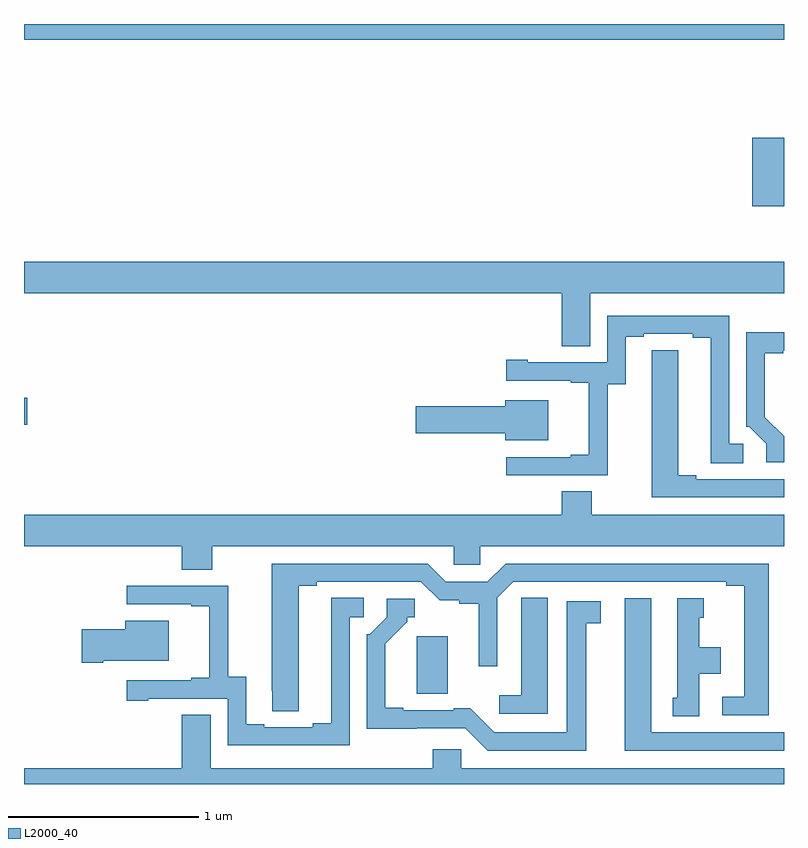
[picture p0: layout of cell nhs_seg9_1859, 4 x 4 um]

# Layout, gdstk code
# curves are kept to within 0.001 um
import gdstk
lib = gdstk.Library(unit=1e-6, precision=1e-09)
def R(c, l, rs):  # rectangles x0, y0, x1, y1
    for r in rs: c.add(gdstk.rectangle(r[:2], r[2:], *l))
def P(c, l, *ps):  # polygons
    for p in ps: c.add(gdstk.Polygon(p, *l))
L2000_40 = (2000, 40)

nhs_seg9_1859 = lib.new_cell('nhs_seg9_1859')
R(nhs_seg9_1859, L2000_40, [(215,1198.39,215.017,1198.532), (218.834,1199.542,219,1199.902), (215,1200.416,219,1200.5)])
P(nhs_seg9_1859, L2000_40, [(217.981,1199.084),(219,1199.084),(219,1199.248),(215,1199.248),(215,1199.084),(217.829,1199.084),(217.829,1198.804),(217.981,1198.804)],
  [(218.073,1198.603),(218.167,1198.603),(218.167,1198.854),(218.263,1198.854),(218.263,1198.869),(218.519,1198.869),(218.519,1198.849),(218.615,1198.849),(218.615,1198.189),(218.785,1198.189),(218.785,1198.29),(218.712,1198.29),(218.712,1198.965),(218.07,1198.965),(218.07,1198.719),(217.651,1198.719),(217.651,1198.732),(217.539,1198.732),(217.539,1198.623),(217.877,1198.623),(217.877,1198.611),(217.973,1198.611),(217.973,1198.234),(217.877,1198.234),(217.877,1198.221),(217.539,1198.221),(217.539,1198.125),(218.073,1198.125)],
  [(219,1198.329),(218.899,1198.43),(218.899,1198.767),(218.995,1198.767),(218.995,1198.779),(219,1198.779),(219,1198.877),(218.802,1198.877),(218.802,1198.38),(218.817,1198.38),(218.907,1198.29),(218.907,1198.194),(219,1198.194)],
  [(219,1198.104),(218.539,1198.104),(218.539,1198.124),(218.443,1198.124),(218.443,1198.784),(218.304,1198.784),(218.304,1198.676),(218.303,1198.676),(218.303,1198.008),(219,1198.008)],
  [(217.759,1198.519),(217.532,1198.519),(217.532,1198.487),(217.062,1198.487),(217.062,1198.345),(217.532,1198.345),(217.532,1198.31),(217.759,1198.31)],
  [(215.991,1197.752),(217.263,1197.752),(217.263,1197.654),(217.401,1197.654),(217.401,1197.752),(219,1197.752),(219,1197.916),(217.989,1197.916),(217.989,1198.04),(217.829,1198.04),(217.829,1197.916),(215,1197.916),(215,1197.752),(215.831,1197.752),(215.831,1197.628),(215.991,1197.628)],
  [(218.92,1197.66),(217.535,1197.66),(217.439,1197.564),(217.221,1197.564),(217.125,1197.66),(216.305,1197.66),(216.306,1196.884),(216.445,1196.884),(216.445,1197.544),(216.541,1197.544),(216.541,1197.564),(217.089,1197.564),(217.187,1197.467),(217.29,1197.467),(217.29,1197.448),(217.394,1197.448),(217.394,1197.12),(217.491,1197.12),(217.491,1197.48),(217.575,1197.564),(218.696,1197.564),(218.696,1197.544),(218.792,1197.544),(218.792,1196.958),(218.676,1196.958),(218.676,1196.862),(218.92,1196.862)],
  [(216.714,1197.378),(216.787,1197.378),(216.787,1197.479),(216.617,1197.479),(216.617,1196.819),(216.521,1196.819),(216.521,1196.799),(216.265,1196.799),(216.265,1196.814),(216.169,1196.814),(216.169,1197.065),(216.075,1197.065),(216.075,1197.543),(215.541,1197.543),(215.541,1197.447),(215.879,1197.447),(215.879,1197.435),(215.975,1197.435),(215.975,1197.058),(215.879,1197.058),(215.879,1197.045),(215.541,1197.045),(215.541,1196.937),(215.653,1196.937),(215.653,1196.949),(216.072,1196.949),(216.072,1196.703),(216.714,1196.703)],
  [(217.756,1197.479),(217.617,1197.479),(217.617,1197.371),(217.616,1197.371),(217.616,1196.968),(217.5,1196.968),(217.5,1196.871),(217.756,1196.871)],
  [(219,1196.772),(218.302,1196.772),(218.302,1197.478),(218.162,1197.478),(218.162,1196.676),(219,1196.676)],
  [(218.554,1197.08),(218.668,1197.08),(218.668,1197.22),(218.554,1197.22),(218.554,1197.375),(218.578,1197.375),(218.578,1197.478),(218.438,1197.478),(218.438,1196.955),(218.414,1196.955),(218.414,1196.857),(218.554,1196.857)],
  [(217.96,1197.346),(218.035,1197.346),(218.035,1197.462),(217.856,1197.462),(217.856,1196.772),(217.476,1196.772),(217.348,1196.9),(217.262,1196.9),(217.262,1196.889),(216.997,1196.889),(216.997,1196.902),(216.901,1196.902),(216.901,1197.238),(217.018,1197.355),(217.018,1197.378),(217.057,1197.378),(217.057,1197.474),(216.909,1197.474),(216.909,1197.378),(216.819,1197.288),(216.804,1197.288),(216.804,1196.792),(217.323,1196.793),(217.44,1196.676),(217.96,1196.676)],
  [(215.416,1197.149),(215.761,1197.149),(215.761,1197.358),(215.534,1197.358),(215.534,1197.315),(215.304,1197.315),(215.304,1197.137),(215.416,1197.137)],
  [(217.23,1197.132),(217.231,1197.132),(217.231,1197.277),(217.067,1197.277),(217.067,1196.974),(217.23,1196.974)],
  [(219,1196.584),(217.302,1196.584),(217.302,1196.682),(217.151,1196.682),(217.151,1196.584),(215.983,1196.584),(215.983,1196.864),(215.831,1196.864),(215.831,1196.584),(215,1196.584),(215,1196.5),(219,1196.5)])

lib.write_gds('nhs_seg9_1859.gds')
